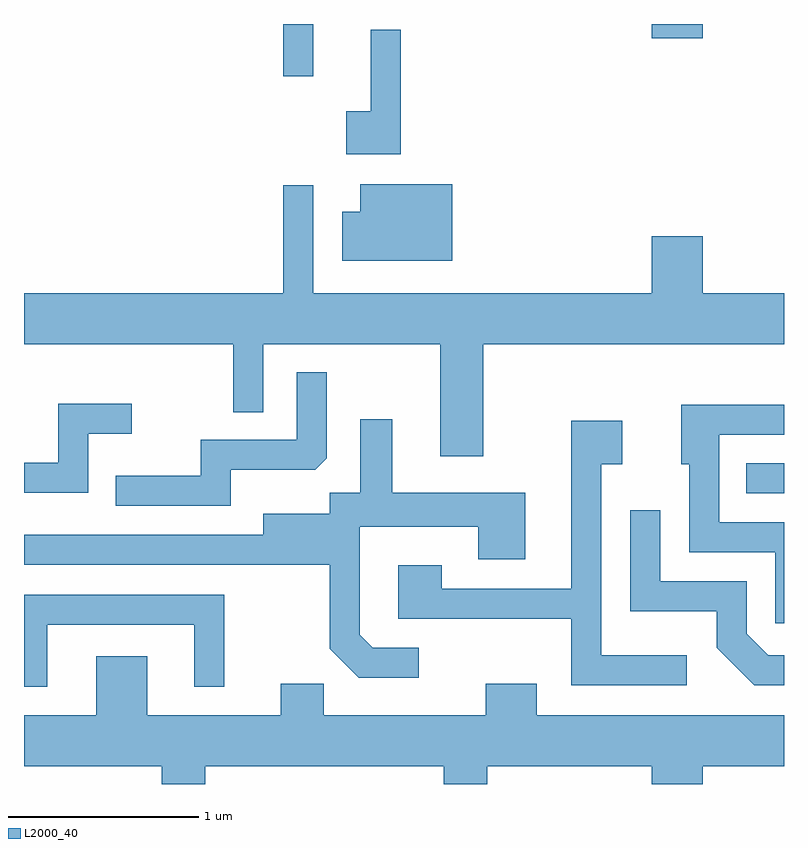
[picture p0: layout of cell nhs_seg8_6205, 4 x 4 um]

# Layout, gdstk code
import gdstk
lib = gdstk.Library(unit=1e-6, precision=1e-09)
def R(c, l, rs):  # rectangles x0, y0, x1, y1
    for r in rs: c.add(gdstk.rectangle(r[:2], r[2:], *l))
def P(c, l, *ps):  # polygons
    for p in ps: c.add(gdstk.Polygon(p, *l))
L2000_40 = (2000, 40)

nhs_seg8_6205 = lib.new_cell('nhs_seg8_6205')
R(nhs_seg8_6205, L2000_40, [(375.413,1817.871,375.611,1818.029), (372.976,1820.068,373.134,1820.342), (374.916,1820.266,375.184,1820.342)])
P(nhs_seg8_6205, L2000_40, [(373.594,1820.313),(373.436,1820.313),(373.436,1819.884),(373.306,1819.884),(373.306,1819.656),(373.594,1819.656)],
  [(373.864,1819.499),(373.381,1819.499),(373.381,1819.354),(373.286,1819.354),(373.286,1819.096),(373.864,1819.096)],
  [(374.029,1818.656),(375.611,1818.656),(375.611,1818.924),(375.184,1818.924),(375.184,1819.224),(374.916,1819.224),(374.916,1818.924),(373.134,1818.924),(373.134,1819.493),(372.976,1819.493),(372.976,1818.924),(371.611,1818.924),(371.611,1818.656),(372.711,1818.656),(372.711,1818.298),(372.869,1818.298),(372.869,1818.656),(373.801,1818.656),(373.801,1818.066),(374.029,1818.066)],
  [(372.699,1817.996),(373.144,1817.996),(373.204,1818.057),(373.204,1818.508),(373.046,1818.508),(373.046,1818.154),(372.541,1818.154),(372.541,1817.964),(372.093,1817.964),(372.093,1817.806),(372.699,1817.806)],
  [(371.949,1818.186),(372.178,1818.186),(372.178,1818.344),(371.791,1818.344),(371.791,1818.034),(371.611,1818.034),(371.611,1817.876),(371.949,1817.876)],
  [(375.611,1817.719),(375.269,1817.719),(375.269,1818.181),(375.611,1818.181),(375.611,1818.339),(375.071,1818.339),(375.071,1818.026),(375.111,1818.026),(375.111,1817.561),(375.566,1817.561),(375.566,1817.188),(375.611,1817.188)],
  [(373.688,1817.059),(373.447,1817.059),(373.379,1817.127),(373.379,1817.696),(374.001,1817.696),(374.001,1817.526),(374.249,1817.526),(374.249,1817.874),(373.549,1817.874),(373.549,1818.263),(373.381,1818.263),(373.381,1817.874),(373.221,1817.874),(373.221,1817.764),(372.871,1817.764),(372.871,1817.654),(371.611,1817.654),(371.611,1817.496),(373.221,1817.496),(373.221,1817.054),(373.374,1816.901),(373.688,1816.901)],
  [(375.098,1817.019),(374.649,1817.019),(374.649,1818.026),(374.759,1818.026),(374.759,1818.254),(374.491,1818.254),(374.491,1817.369),(373.809,1817.369),(373.809,1817.494),(373.581,1817.494),(373.581,1817.211),(374.491,1817.211),(374.491,1816.861),(375.098,1816.861)],
  [(375.611,1817.019),(375.527,1817.019),(375.414,1817.132),(375.414,1817.409),(374.959,1817.409),(374.959,1817.783),(374.801,1817.783),(374.801,1817.251),(375.256,1817.251),(375.256,1817.059),(375.454,1816.861),(375.611,1816.861)],
  [(371.734,1817.181),(372.506,1817.181),(372.506,1816.853),(372.664,1816.853),(372.664,1817.339),(371.611,1817.339),(371.611,1816.853),(371.734,1816.853)],
  [(372.564,1816.436),(373.821,1816.436),(373.821,1816.342),(374.049,1816.342),(374.049,1816.436),(374.916,1816.436),(374.916,1816.342),(375.184,1816.342),(375.184,1816.436),(375.611,1816.436),(375.611,1816.704),(374.309,1816.704),(374.309,1816.869),(374.041,1816.869),(374.041,1816.704),(373.189,1816.704),(373.189,1816.869),(372.961,1816.869),(372.961,1816.704),(372.259,1816.704),(372.259,1817.014),(371.991,1817.014),(371.991,1816.704),(371.611,1816.704),(371.611,1816.436),(372.336,1816.436),(372.336,1816.342),(372.564,1816.342)])

lib.write_gds('nhs_seg8_6205.gds')
